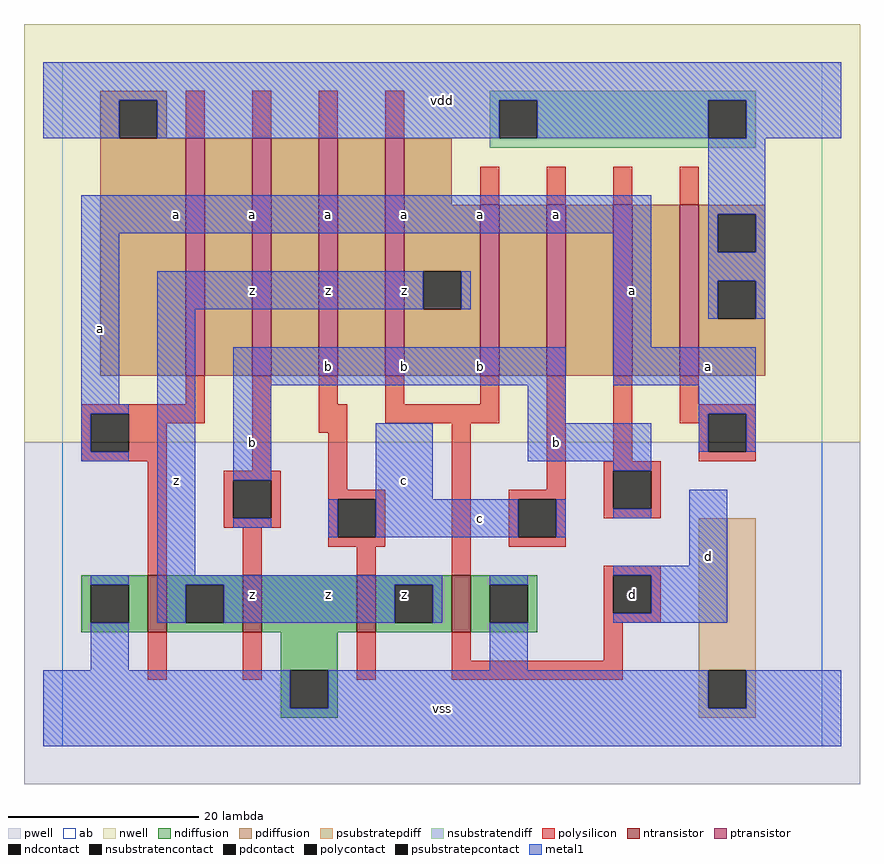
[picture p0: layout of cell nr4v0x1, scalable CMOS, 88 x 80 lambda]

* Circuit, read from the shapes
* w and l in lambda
.subckt nr4v0x1 a b c d vdd vss z
M1 z a vss vss nfet w=6 l=2
M2 vss b z vss nfet w=6 l=2
M3 z c vss vss nfet w=6 l=2
M4 vss d z vss nfet w=6 l=2
M5 n1 a vdd vdd pfet w=25 l=2
M6 n2 b n1 vdd pfet w=25 l=2
M7 n3 c n2 vdd pfet w=25 l=2
M8 z d n3 vdd pfet w=25 l=2
M9 n4 d z vdd pfet w=18 l=2
M10 n5 c n4 vdd pfet w=18 l=2
M11 n6 b n5 vdd pfet w=18 l=2
M12 vdd a n6 vdd pfet w=18 l=2
.ends

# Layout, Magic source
magic
tech scmos
<< ab >>
rect 0 0 80 72
<< pwell >>
rect -4 -4 84 32
<< nwell >>
rect -4 32 84 76
<< polysilicon >>
rect 13 64 15 69
rect 20 64 22 69
rect 27 64 29 69
rect 34 64 36 69
rect 44 57 46 61
rect 51 57 53 61
rect 58 57 60 61
rect 65 57 67 61
rect 13 36 15 39
rect 2 35 15 36
rect 2 31 3 35
rect 7 34 15 35
rect 7 31 11 34
rect 2 30 11 31
rect 9 18 11 30
rect 20 29 22 39
rect 27 36 29 39
rect 34 36 36 39
rect 44 36 46 39
rect 27 33 30 36
rect 34 34 46 36
rect 17 28 23 29
rect 17 24 18 28
rect 22 24 23 28
rect 17 23 23 24
rect 28 27 30 33
rect 28 26 34 27
rect 19 18 21 23
rect 28 22 29 26
rect 33 22 34 26
rect 28 21 34 22
rect 31 18 33 21
rect 41 18 43 34
rect 51 27 53 39
rect 58 30 60 39
rect 65 36 67 39
rect 65 35 73 36
rect 65 34 68 35
rect 67 31 68 34
rect 72 31 73 35
rect 67 30 73 31
rect 47 26 53 27
rect 47 22 48 26
rect 52 22 53 26
rect 57 29 63 30
rect 57 25 58 29
rect 62 25 63 29
rect 57 24 63 25
rect 47 21 53 22
rect 57 18 63 19
rect 57 14 58 18
rect 62 14 63 18
rect 57 13 63 14
rect 9 7 11 12
rect 19 7 21 12
rect 31 7 33 12
rect 41 9 43 12
rect 57 9 59 13
rect 41 7 59 9
<< ndiffusion >>
rect 2 17 9 18
rect 2 13 3 17
rect 7 13 9 17
rect 2 12 9 13
rect 11 17 19 18
rect 11 13 13 17
rect 17 13 19 17
rect 11 12 19 13
rect 21 12 31 18
rect 33 17 41 18
rect 33 13 35 17
rect 39 13 41 17
rect 33 12 41 13
rect 43 17 50 18
rect 43 13 45 17
rect 49 13 50 17
rect 43 12 50 13
rect 23 8 29 12
rect 23 4 24 8
rect 28 4 29 8
rect 23 3 29 4
<< pdiffusion >>
rect 4 68 11 69
rect 4 64 6 68
rect 10 64 11 68
rect 4 39 13 64
rect 15 39 20 64
rect 22 39 27 64
rect 29 39 34 64
rect 36 57 41 64
rect 36 50 44 57
rect 36 46 38 50
rect 42 46 44 50
rect 36 39 44 46
rect 46 39 51 57
rect 53 39 58 57
rect 60 39 65 57
rect 67 56 74 57
rect 67 52 69 56
rect 73 52 74 56
rect 67 49 74 52
rect 67 45 69 49
rect 73 45 74 49
rect 67 39 74 45
<< metal1 >>
rect -2 68 82 72
rect -2 64 6 68
rect 10 64 46 68
rect 50 64 68 68
rect 72 64 82 68
rect 2 54 62 58
rect 2 36 6 54
rect 10 46 38 50
rect 42 46 43 50
rect 2 35 7 36
rect 2 31 3 35
rect 2 30 7 31
rect 10 18 14 46
rect 58 42 62 54
rect 68 56 74 64
rect 68 52 69 56
rect 73 52 74 56
rect 68 49 74 52
rect 68 45 69 49
rect 73 45 74 49
rect 18 38 53 42
rect 58 38 73 42
rect 18 28 22 38
rect 49 34 53 38
rect 67 35 73 38
rect 33 26 39 34
rect 49 30 62 34
rect 67 31 68 35
rect 72 31 73 35
rect 58 29 62 30
rect 18 23 22 24
rect 28 22 29 26
rect 33 22 48 26
rect 52 22 53 26
rect 58 24 62 25
rect 66 19 70 27
rect 58 18 70 19
rect 3 17 7 18
rect 10 17 40 18
rect 10 13 13 17
rect 17 13 35 17
rect 39 13 40 17
rect 45 17 49 18
rect 62 14 70 18
rect 58 13 70 14
rect 3 8 7 13
rect 45 8 49 13
rect -2 4 24 8
rect 28 4 68 8
rect 72 4 82 8
rect -2 0 82 4
<< ntransistor >>
rect 9 12 11 18
rect 19 12 21 18
rect 31 12 33 18
rect 41 12 43 18
<< ptransistor >>
rect 13 39 15 64
rect 20 39 22 64
rect 27 39 29 64
rect 34 39 36 64
rect 44 39 46 57
rect 51 39 53 57
rect 58 39 60 57
rect 65 39 67 57
<< polycontact >>
rect 3 31 7 35
rect 18 24 22 28
rect 29 22 33 26
rect 68 31 72 35
rect 48 22 52 26
rect 58 25 62 29
rect 58 14 62 18
<< ndcontact >>
rect 3 13 7 17
rect 13 13 17 17
rect 35 13 39 17
rect 45 13 49 17
rect 24 4 28 8
<< pdcontact >>
rect 6 64 10 68
rect 38 46 42 50
rect 69 52 73 56
rect 69 45 73 49
<< psubstratepcontact >>
rect 68 4 72 8
<< nsubstratencontact >>
rect 46 64 50 68
rect 68 64 72 68
<< psubstratepdiff >>
rect 67 8 73 24
rect 67 4 68 8
rect 72 4 73 8
rect 67 3 73 4
<< nsubstratendiff >>
rect 45 68 73 69
rect 45 64 46 68
rect 50 64 68 68
rect 72 64 73 68
rect 45 63 73 64
<< labels >>
rlabel metal1 4 44 4 44 6 a
rlabel metal1 28 16 28 16 6 z
rlabel metal1 20 16 20 16 6 z
rlabel metal1 20 32 20 32 6 b
rlabel metal1 12 28 12 28 6 z
rlabel metal1 28 40 28 40 6 b
rlabel metal1 28 48 28 48 6 z
rlabel metal1 20 48 20 48 6 z
rlabel metal1 28 56 28 56 6 a
rlabel metal1 20 56 20 56 6 a
rlabel metal1 12 56 12 56 6 a
rlabel metal1 40 4 40 4 6 vss
rlabel ndcontact 36 16 36 16 6 z
rlabel metal1 44 24 44 24 6 c
rlabel metal1 36 28 36 28 6 c
rlabel metal1 44 40 44 40 6 b
rlabel metal1 36 40 36 40 6 b
rlabel metal1 36 48 36 48 6 z
rlabel metal1 44 56 44 56 6 a
rlabel metal1 36 56 36 56 6 a
rlabel metal1 40 68 40 68 6 vdd
rlabel polycontact 60 16 60 16 6 d
rlabel metal1 52 32 52 32 6 b
rlabel metal1 60 48 60 48 6 a
rlabel metal1 52 56 52 56 6 a
rlabel metal1 68 20 68 20 6 d
rlabel metal1 68 40 68 40 6 a
<< end >>
